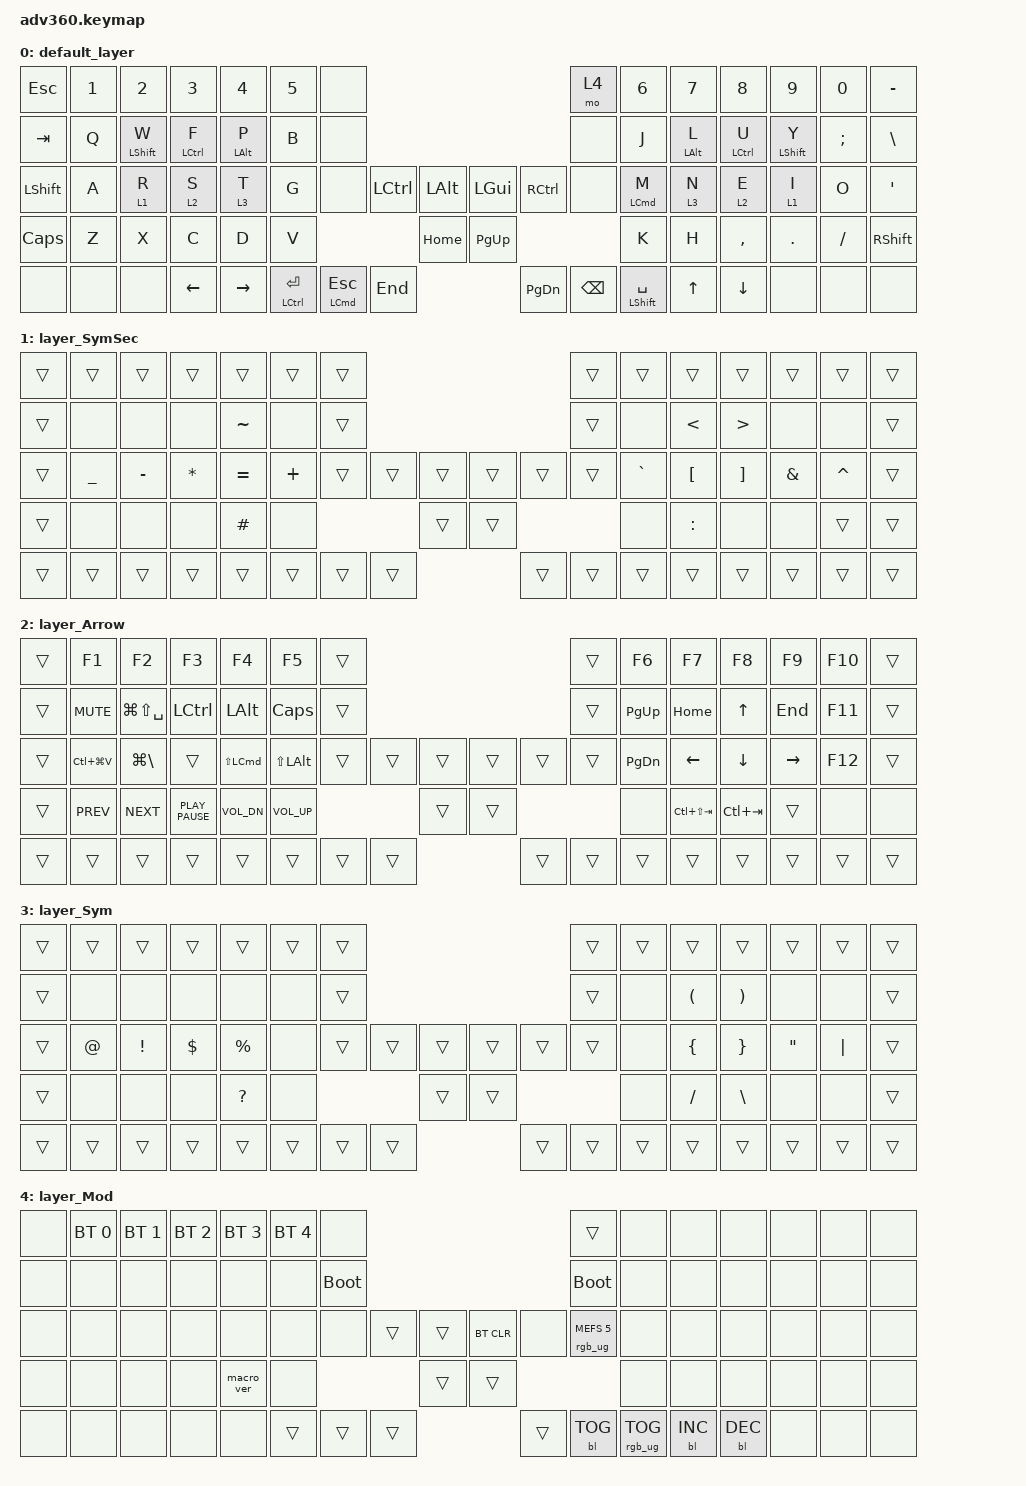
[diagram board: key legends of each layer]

/*
 * Copyright (c) 2020 The ZMK Contributors
 *
 * SPDX-License-Identifier: MIT
 */


/* THIS FILE WAS GENERATED!
 *
 * This file was generated automatically. You may or may not want to
 * edit it directly.
 */

#include <behaviors.dtsi>
#include <dt-bindings/zmk/keys.h>
#include <dt-bindings/zmk/bt.h>
#include <dt-bindings/zmk/rgb.h>
#include <dt-bindings/zmk/backlight.h>

&mt {
    tapping-term-ms = <201>;
    flavor = "tap-preferred";
 };

#define KEYS_LEFT 0 1 2 3 4 5 6 \
                  14 15 16 17 18 19 20 \
                  28 29 30 31 32 33 34 \
                  46 47 48 49 50 51 \
                  66 67 68 69 70

#define KEYS_RIGHT 7 8 9 10 11 12 13 \
                   21 22 23 24 25 26 27 \
                   39 40 41 42 43 44 45 \
                   60 61 62 63 64 65 \
                   77 78 79 80 81

#define THUMBS_LEFT 35 36 54 71 72 73

#define THUMBS_RIGHT 37 38 57 74 75 76

#define THUMBS THUMBS_LEFT THUMBS_RIGHT

/ {
  behaviors {
    #include "macros.dtsi"
    #include "version.dtsi"

    hm: homerow_mods {
        compatible = "zmk,behavior-hold-tap";
        label = "HOMEROW_MODS";
        #binding-cells = <2>;
        tapping-term-ms = <220>;
        quick_tap_ms = <250>;
        flavor = "tap-preferred";
        bindings = <&mo>, <&kp>;
    };

    hml: homerow_mods_left {
        compatible = "zmk,behavior-hold-tap";
        label = "HOMEROW_MODS";
        #binding-cells = <2>;
        tapping-term-ms = <220>;
        quick_tap_ms = <250>;
        flavor = "tap-preferred";
        bindings = <&kp>, <&kp>;
        // hold-trigger-key-positions = <KEYS_RIGHT THUMBS>;
    };

    hmr: homerow_mods_right {
        compatible = "zmk,behavior-hold-tap";
        label = "HOMEROW_MODS";
        #binding-cells = <2>;
        tapping-term-ms = <220>;
        quick_tap_ms = <250>;
        flavor = "tap-preferred";
        bindings = <&kp>, <&kp>;
        // hold-trigger-key-positions = <KEYS_LEFT THUMBS>;

    };

    hll: homerow_layers_left {
        compatible = "zmk,behavior-hold-tap";
        label = "HOMEROW_LAYERS_L";
        #binding-cells = <2>;
        tapping-term-ms = <220>;
        quick-tap-ms = <250>;
        flavor = "tap-preferred";
        bindings = <&mo>, <&kp>;
        // hold-trigger-key-positions = <KEYS_RIGHT THUMBS>;

    };
    hlr: homerow_layers_right {
        compatible = "zmk,behavior-hold-tap";
        label = "HOMEROW_LAYERS_R";
        #binding-cells = <2>;
        tapping-term-ms = <220>;
        quick-tap-ms = <250>;
        flavor = "tap-preferred";
        bindings = <&mo>, <&kp>;
        // hold-trigger-key-positions = <KEYS_LEFT THUMBS>;

    };

  };

    // Home row mods
    #define _R_SYM &hll 1 R
    #define _S_SYM &hm  2 S
    #define _T_SYM &hll 3 T
    #define _W_SHF &hml LSHFT W
    #define _F_CTL &hml LCTRL F  // Control on index down
    #define _P_ALT &hml LALT P

    #define _N_SYM &hlr 3 N
    #define _E_SYM &hm  2 E
    #define _I_SYM &hlr 1 I
    #define _Y_SHF &hmr LSHFT Y
    #define _U_CTL &hmr LCTRL U  // Control on index down
    #define _L_ALT &hmr LALT L
    #define _M_CMD &hmr LEFT_COMMAND M

    keymap {
        compatible = "zmk,keymap";


        default_layer {
            bindings = <
        &kp ESC     &kp N1  &kp N2    &kp N3     &kp N4    &kp N5    &none                                                                                                          &mo 4   &kp N6     &kp N7     &kp N8     &kp N9    &kp N0          &kp MINUS
        &kp TAB     &kp Q   _W_SHF    _F_CTL     _P_ALT    &kp B     &none                                                                                                          &none   &kp J      _L_ALT     _U_CTL     _Y_SHF    &kp SEMICOLON   &kp BSLH
        &kp LSHFT   &kp A   _R_SYM    _S_SYM     _T_SYM    &kp G     &none                    &kp LCTRL              &kp LALT           &kp LGUI    &kp RCTRL                       &none   _M_CMD     _N_SYM     _E_SYM     _I_SYM    &kp O           &kp SQT
        &kp CAPS    &kp Z   &kp X     &kp C      &kp D     &kp V                                                     &kp HOME           &kp PG_UP                                           &kp K      &kp H      &kp COMMA  &kp DOT   &kp FSLH        &kp RSHFT
        &none       &none   &none     &kp LEFT   &kp RIGHT                   &mt LCTRL ENTER  &mt LEFT_COMMAND ESC   &kp END            &kp PG_DN   &kp BACKSPACE  &mt LSHFT SPACE                     &kp UP     &kp DOWN   &none     &none           &none
            >;
        };

        layer_SymSec {
            bindings = <
        &trans          &trans     &trans        &trans     &trans    &trans            &trans                                                  &trans     &trans            &trans             &trans         &trans     &trans  &trans
        &trans           &none      &none         &none  &kp TILDE     &none            &trans                                                  &trans      &none     &kp LESS_THAN   &kp GREATER_THAN          &none      &none  &trans
        &trans  &kp UNDERSCORE  &kp MINUS  &kp ASTERISK  &kp EQUAL  &kp PLUS            &trans  &trans  &trans                  &trans  &trans  &trans  &kp GRAVE  &kp LEFT_BRACKET  &kp RIGHT_BRACKET  &kp AMPERSAND  &kp CARET  &trans
        &trans           &none      &none         &none   &kp HASH     &none                            &trans                  &trans                      &none         &kp COLON              &none          &none     &trans  &trans
        &trans          &trans     &trans        &trans     &trans                      &trans  &trans  &trans                  &trans  &trans  &trans                       &trans             &trans         &trans     &trans  &trans
            >;
        };

        layer_Arrow {
            bindings = <
        &trans    &kp F1         &kp F2             &kp F3           &kp F4               &kp F5             &trans                                                                         &trans     &kp F6         &kp F7          &kp F8            &kp F9           &kp F10  &trans
        &trans    &kp K_MUTE     &kp LG(LS(SPACE))  &kp LCTRL        &kp LALT             &kp CAPSLOCK       &trans                                                                         &trans     &kp PAGE_UP    &kp HOME        &kp UP_ARROW      &kp END          &kp F11  &trans
        &trans    &kp LC(LG(V))  &kp LG(BACKSLASH)  &trans           &kp LS(LEFT_COMMAND) &kp LS(LEFT_ALT)   &trans             &trans  &trans                  &trans  &trans              &trans     &kp PAGE_DOWN  &kp LEFT_ARROW  &kp DOWN_ARROW    &kp RIGHT_ARROW  &kp F12  &trans
        &trans    &kp K_PREV     &kp K_NEXT         &kp K_PLAY_PAUSE &kp K_VOL_DN         &kp K_VOL_UP                                  &trans                  &trans                                 &none          &kp LC(LS(TAB)) &kp LC(TAB)       &trans           &none    &none
        &trans    &trans         &trans             &trans           &trans                                             &trans  &trans  &trans                  &trans  &trans  &trans                                &trans          &trans            &trans           &trans  &trans
            >;
        };

        layer_Sym {
            bindings = <
            &trans       &trans           &trans      &trans        &trans  &trans            &trans                                                  &trans  &trans                &trans                 &trans             &trans    &trans  &trans
 &trans        &none            &none       &none         &none   &none            &trans                                                  &trans   &none  &kp LEFT_PARENTHESIS  &kp RIGHT_PARENTHESIS              &none     &none  &trans
 &trans  &kp AT_SIGN  &kp EXCLAMATION  &kp DOLLAR   &kp PERCENT   &none            &trans  &trans  &trans                  &trans  &trans  &trans   &none        &kp LEFT_BRACE        &kp RIGHT_BRACE  &kp DOUBLE_QUOTES  &kp PIPE  &trans
 &trans       &none            &none       &none  &kp QUESTION   &none                            &trans                  &trans                   &none             &kp SLASH          &kp BACKSLASH              &none     &none  &trans
 &trans       &trans           &trans      &trans        &trans                    &trans  &trans  &trans                  &trans  &trans  &trans                        &trans                 &trans             &trans    &trans  &trans
            >;
        };

        layer_Mod {
            bindings = <
        &none &bt BT_SEL 0 &bt BT_SEL 1 &bt BT_SEL 2 &bt BT_SEL 3 &bt BT_SEL 4 &none                                                                     &trans                 &none        &none        &none        &none &none &none
        &none &none        &none        &none        &none        &none        &bootloader                                                               &bootloader            &none        &none        &none        &none &none &none
        &none &none        &none        &none        &none        &none        &none               &trans &trans     &bt BT_CLR &none                    &rgb_ug RGB_MEFS_CMD 5 &none        &none        &none        &none &none &none
        &none &none        &none        &none        &macro_ver   &none                                   &trans     &trans                                                     &none        &none        &none        &none &none &none
        &none &none        &none        &none        &none                                  &trans &trans &trans     &trans     &bl BL_TOG &rgb_ug RGB_TOG                                   &bl BL_INC   &bl BL_DEC   &none &none &none
            >;
      };

    };
};
